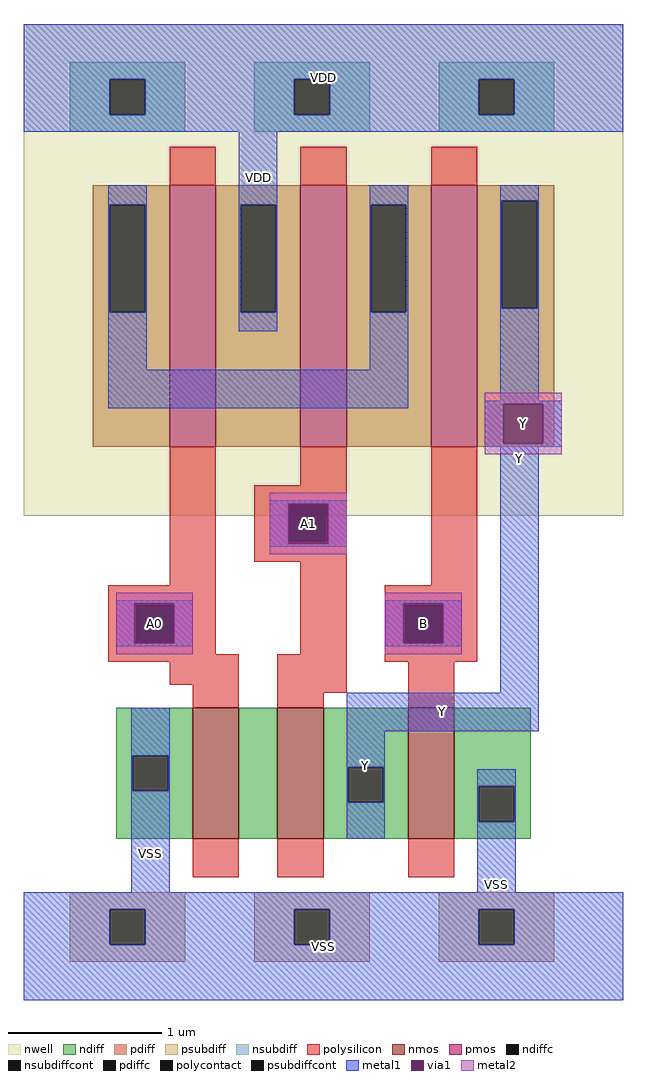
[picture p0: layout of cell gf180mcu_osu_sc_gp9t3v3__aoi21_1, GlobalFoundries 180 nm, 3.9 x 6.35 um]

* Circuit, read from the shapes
.subckt gf180mcu_osu_sc_gp9t3v3__aoi21_1 Y A0 A1 B VDD VSS
XM1 n1 A0 VSS VSS nfet_03v3 w=0.85u l=0.3u
XM2 Y A1 n1 VSS nfet_03v3 w=0.85u l=0.3u
XM3 VSS B Y VSS nfet_03v3 w=0.85u l=0.3u
XM4 VDD A0 n2 VDD pfet_03v3 w=1.7u l=0.3u
XM5 n2 A1 VDD VDD pfet_03v3 w=1.7u l=0.3u
XM6 Y B n2 VDD pfet_03v3 w=1.7u l=0.3u
.ends

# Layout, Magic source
magic
tech gf180mcuA
magscale 1 10
<< nwell >>
rect 0 630 780 1270
<< nmos >>
rect 220 210 280 380
rect 330 210 390 380
rect 500 210 560 380
<< pmos >>
rect 190 720 250 1060
rect 360 720 420 1060
rect 530 720 590 1060
<< ndiff >>
rect 120 318 220 380
rect 120 272 142 318
rect 188 272 220 318
rect 120 210 220 272
rect 280 210 330 380
rect 390 303 500 380
rect 390 257 422 303
rect 468 257 500 303
rect 390 210 500 257
rect 560 278 660 380
rect 560 232 592 278
rect 638 232 660 278
rect 560 210 660 232
<< pdiff >>
rect 90 1035 190 1060
rect 90 895 112 1035
rect 158 895 190 1035
rect 90 720 190 895
rect 250 1035 360 1060
rect 250 895 282 1035
rect 328 895 360 1035
rect 250 720 360 895
rect 420 1035 530 1060
rect 420 895 452 1035
rect 498 895 530 1035
rect 420 720 530 895
rect 590 1040 690 1060
rect 590 900 622 1040
rect 668 900 690 1040
rect 590 720 690 900
<< ndiffc >>
rect 142 272 188 318
rect 422 257 468 303
rect 592 232 638 278
<< pdiffc >>
rect 112 895 158 1035
rect 282 895 328 1035
rect 452 895 498 1035
rect 622 900 668 1040
<< psubdiff >>
rect 60 118 210 140
rect 60 72 112 118
rect 158 72 210 118
rect 60 50 210 72
rect 300 118 450 140
rect 300 72 352 118
rect 398 72 450 118
rect 300 50 450 72
rect 540 118 690 140
rect 540 72 592 118
rect 638 72 690 118
rect 540 50 690 72
<< nsubdiff >>
rect 60 1198 210 1220
rect 60 1152 112 1198
rect 158 1152 210 1198
rect 60 1130 210 1152
rect 300 1198 450 1220
rect 300 1152 352 1198
rect 398 1152 450 1198
rect 300 1130 450 1152
rect 540 1198 690 1220
rect 540 1152 592 1198
rect 638 1152 690 1198
rect 540 1130 690 1152
<< psubdiffcont >>
rect 112 72 158 118
rect 352 72 398 118
rect 592 72 638 118
<< nsubdiffcont >>
rect 112 1152 158 1198
rect 352 1152 398 1198
rect 592 1152 638 1198
<< polysilicon >>
rect 190 1060 250 1110
rect 360 1060 420 1110
rect 530 1060 590 1110
rect 190 540 250 720
rect 360 670 420 720
rect 300 643 420 670
rect 300 597 347 643
rect 393 597 420 643
rect 300 570 420 597
rect 110 513 250 540
rect 110 467 147 513
rect 193 467 250 513
rect 110 450 250 467
rect 360 450 420 570
rect 530 540 590 720
rect 110 440 280 450
rect 190 410 280 440
rect 220 380 280 410
rect 330 400 420 450
rect 470 513 590 540
rect 470 467 497 513
rect 543 467 590 513
rect 470 440 590 467
rect 330 380 390 400
rect 500 380 560 440
rect 220 160 280 210
rect 330 160 390 210
rect 500 160 560 210
<< polycontact >>
rect 347 597 393 643
rect 147 467 193 513
rect 497 467 543 513
<< metal1 >>
rect 0 1198 780 1270
rect 0 1152 112 1198
rect 158 1152 352 1198
rect 398 1152 592 1198
rect 638 1152 780 1198
rect 0 1130 780 1152
rect 110 1035 160 1060
rect 110 895 112 1035
rect 158 895 160 1035
rect 110 820 160 895
rect 280 1035 330 1130
rect 280 895 282 1035
rect 328 895 330 1035
rect 280 870 330 895
rect 450 1035 500 1060
rect 450 895 452 1035
rect 498 895 500 1035
rect 450 820 500 895
rect 110 770 500 820
rect 620 1040 670 1060
rect 620 900 622 1040
rect 668 900 670 1040
rect 620 780 670 900
rect 600 776 700 780
rect 600 724 624 776
rect 676 724 700 776
rect 600 720 700 724
rect 320 646 420 650
rect 320 594 344 646
rect 396 594 420 646
rect 320 590 420 594
rect 120 516 220 520
rect 120 464 144 516
rect 196 464 220 516
rect 120 460 220 464
rect 470 516 570 520
rect 470 464 494 516
rect 546 464 570 516
rect 470 460 570 464
rect 620 400 670 720
rect 140 318 190 380
rect 140 272 142 318
rect 188 272 190 318
rect 140 140 190 272
rect 420 350 670 400
rect 420 303 470 350
rect 420 257 422 303
rect 468 257 470 303
rect 420 210 470 257
rect 590 278 640 300
rect 590 232 592 278
rect 638 232 640 278
rect 590 140 640 232
rect 0 118 780 140
rect 0 72 112 118
rect 158 72 352 118
rect 398 72 592 118
rect 638 72 780 118
rect 0 0 780 72
<< via1 >>
rect 624 724 676 776
rect 344 643 396 646
rect 344 597 347 643
rect 347 597 393 643
rect 393 597 396 643
rect 344 594 396 597
rect 144 513 196 516
rect 144 467 147 513
rect 147 467 193 513
rect 193 467 196 513
rect 144 464 196 467
rect 494 513 546 516
rect 494 467 497 513
rect 497 467 543 513
rect 543 467 546 513
rect 494 464 546 467
<< metal2 >>
rect 600 776 700 790
rect 600 724 624 776
rect 676 724 700 776
rect 600 710 700 724
rect 320 646 420 660
rect 320 594 344 646
rect 396 594 420 646
rect 320 580 420 594
rect 120 516 220 530
rect 120 464 144 516
rect 196 464 220 516
rect 120 450 220 464
rect 470 516 570 530
rect 470 464 494 516
rect 546 464 570 516
rect 470 450 570 464
<< labels >>
rlabel via1 s 624 724 676 776 4 Y
port 1 nsew signal output
rlabel via1 s 144 464 196 516 4 A0
port 2 nsew signal input
rlabel via1 s 344 594 396 646 4 A1
port 3 nsew signal input
rlabel via1 s 494 464 546 516 4 B
port 4 nsew signal input
rlabel metal1 s 280 870 330 1270 4 VDD
port 5 nsew power bidirectional abutment
rlabel metal1 s 140 0 190 380 4 VSS
port 6 nsew ground bidirectional abutment
rlabel metal1 s 0 1130 780 1270 1 VDD
port 5 nsew power bidirectional abutment
rlabel metal1 s 590 0 640 300 1 VSS
port 6 nsew ground bidirectional abutment
rlabel metal1 s 0 0 780 140 1 VSS
port 6 nsew ground bidirectional abutment
rlabel metal2 s 120 450 220 530 1 A0
port 2 nsew signal input
rlabel metal1 s 120 460 220 520 1 A0
port 2 nsew signal input
rlabel metal2 s 320 580 420 660 1 A1
port 3 nsew signal input
rlabel metal1 s 320 590 420 650 1 A1
port 3 nsew signal input
rlabel metal2 s 470 450 570 530 1 B
port 4 nsew signal input
rlabel metal1 s 470 460 570 520 1 B
port 4 nsew signal input
rlabel metal2 s 600 710 700 790 1 Y
port 1 nsew signal output
rlabel metal1 s 420 210 470 400 1 Y
port 1 nsew signal output
rlabel metal1 s 420 350 670 400 1 Y
port 1 nsew signal output
rlabel metal1 s 620 350 670 1060 1 Y
port 1 nsew signal output
rlabel metal1 s 600 720 700 780 1 Y
port 1 nsew signal output
<< properties >>
string FIXED_BBOX 0 0 780 1270
string GDS_END 46002
string GDS_FILE $PDKPATH/libs.ref/gf180mcu_osu_sc_gp9t3v3/gds/gf180mcu_osu_sc_gp9t3v3.gds
string GDS_START 40774
string LEFclass CORE
string LEFsite gf180mcu_osu_sc_gp9t3v3
string LEFsymmetry X Y
<< end >>
